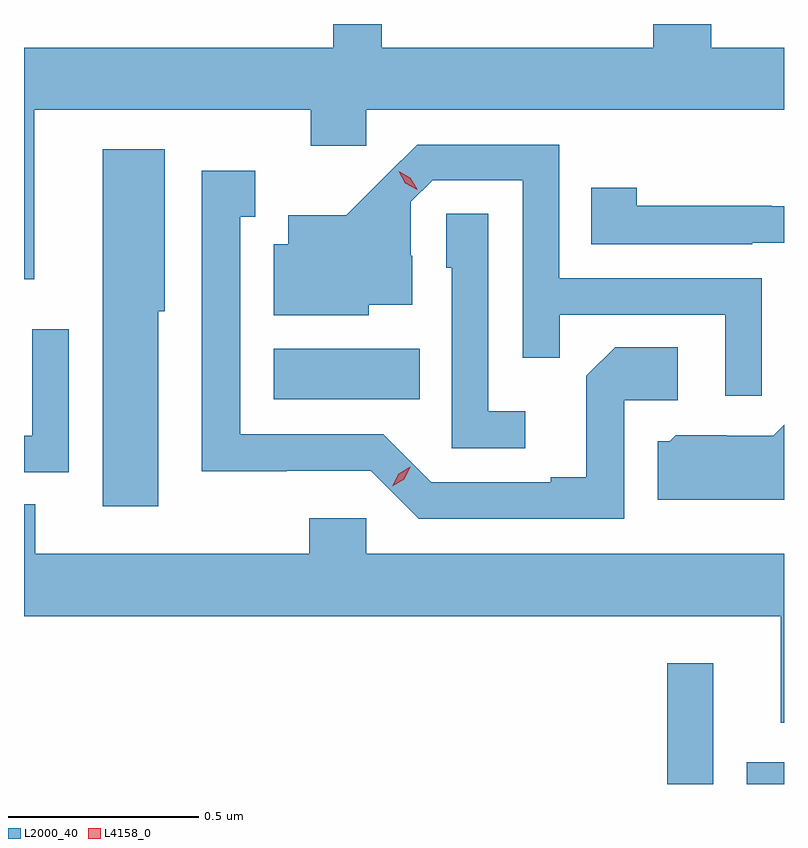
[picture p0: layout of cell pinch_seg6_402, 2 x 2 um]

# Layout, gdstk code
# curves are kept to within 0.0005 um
import gdstk
lib = gdstk.Library(unit=1e-6, precision=1e-09)
def R(c, l, rs):  # rectangles x0, y0, x1, y1
    for r in rs: c.add(gdstk.rectangle(r[:2], r[2:], *l))
def P(c, l, *ps):  # polygons
    for p in ps: c.add(gdstk.Polygon(p, *l))
L2000_40 = (2000, 40)
L4158_0 = (4158, 0)

pinch_seg6_402 = lib.new_cell('pinch_seg6_402')
R(pinch_seg6_402, L2000_40, [(639.684,930.91,639.805,931.228), (639.893,930.91,639.991,930.967), (638.648,931.922,639.032,932.056)])
P(pinch_seg6_402, L2000_40, [(637.991,932.238),(638.018,932.238),(638.018,932.684),(638.746,932.684),(638.746,932.589),(638.892,932.589),(638.892,932.684),(639.991,932.684),(639.991,932.848),(639.799,932.848),(639.799,932.91),(639.647,932.91),(639.647,932.848),(638.933,932.848),(638.933,932.91),(638.805,932.91),(638.805,932.848),(637.991,932.848)],
  [(639.933,932.241),(639.399,932.241),(639.399,932.592),(639.026,932.592),(638.839,932.407),(638.687,932.407),(638.687,932.331),(638.648,932.331),(638.648,932.144),(638.898,932.144),(638.898,932.171),(639.013,932.171),(639.013,932.3),(639.009,932.3),(639.009,932.442),(639.066,932.499),(639.303,932.499),(639.303,932.032),(639.401,932.032),(639.401,932.145),(639.837,932.145),(639.837,931.932),(639.933,931.932)],
  [(638.344,932.154),(638.362,932.154),(638.362,932.581),(638.198,932.581),(638.198,931.641),(638.344,931.641)],
  [(639.57,931.92),(639.712,931.92),(639.712,932.06),(639.547,932.06),(639.471,931.984),(639.471,931.717),(639.377,931.717),(639.377,931.704),(639.063,931.704),(638.937,931.83),(638.56,931.83),(638.56,932.403),(638.599,932.403),(638.599,932.524),(638.459,932.524),(638.459,931.733),(638.682,931.733),(638.682,931.734),(638.904,931.734),(639.03,931.608),(639.57,931.608)],
  [(639.908,932.334),(639.991,932.334),(639.991,932.431),(639.959,932.431),(639.959,932.432),(639.603,932.432),(639.603,932.479),(639.484,932.479),(639.484,932.331),(639.908,932.331)],
  [(639.31,931.891),(639.213,931.891),(639.213,932.411),(639.102,932.411),(639.102,932.268),(639.117,932.268),(639.117,931.794),(639.31,931.794)],
  [(638.109,932.107),(638.013,932.107),(638.013,931.827),(637.991,931.827),(637.991,931.731),(638.109,931.731)],
  [(639.991,931.855),(639.963,931.827),(639.84,931.827),(639.84,931.828),(639.706,931.828),(639.69,931.812),(639.659,931.812),(639.659,931.658),(639.991,931.658)],
  [(639.991,931.516),(638.892,931.516),(638.892,931.609),(638.741,931.609),(638.741,931.516),(638.02,931.516),(638.02,931.646),(637.991,931.646),(637.991,931.352),(639.983,931.352),(639.983,931.071),(639.991,931.071)])
P(pinch_seg6_402, L4158_0, [(639.026,932.474),(638.994,932.491),(638.977,932.522),(638.977,932.522),(638.977,932.522),(639.008,932.505),(639.026,932.475),(639.026,932.474)],
  [(638.96,931.693),(638.96,931.693),(638.977,931.726),(639.008,931.745),(639.008,931.745),(639.008,931.744),(638.992,931.712),(638.96,931.693)])

lib.write_gds('pinch_seg6_402.gds')
